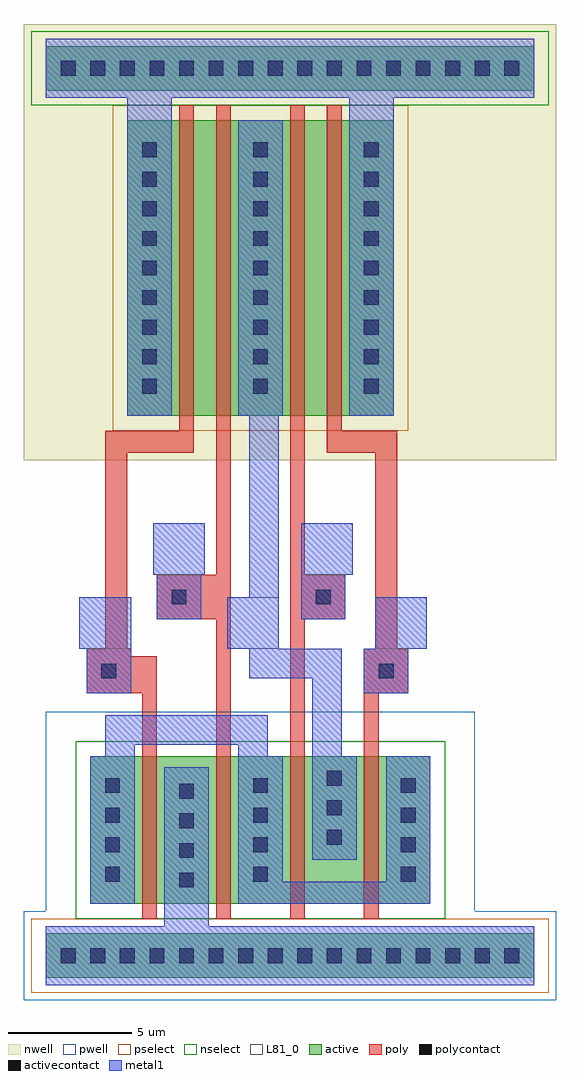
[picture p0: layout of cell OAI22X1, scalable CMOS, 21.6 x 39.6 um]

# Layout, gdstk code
import gdstk
lib = gdstk.Library(unit=1e-6, precision=1e-09)
def R(c, l, rs):  # rectangles x0, y0, x1, y1
    for r in rs: c.add(gdstk.rectangle(r[:2], r[2:], *l))
def A(c, l, x, y, w, h, nx, ny, dx, dy):  # array of equal rectangles
    R(c, l, [(x+i*dx, y+j*dy, x+i*dx+w, y+j*dy+h) for i in range(nx) for j in range(ny)])
pwell = (41, 0)
nwell = (42, 0)
active = (43, 0)
pselect = (44, 0)
nselect = (45, 0)
poly = (46, 0)
polycontact = (47, 0)
activecontact = (48, 0)
metal1 = (49, 0)
L81_0 = (81, 0)

oai22x1 = lib.new_cell('OAI22X1')
R(oai22x1, pwell, [(-1.8,-1.8,19.8,1.8), (-0.9,1.8,16.5,9.9)])
R(oai22x1, nwell, [(-1.8,20.1,19.8,37.8)])
R(oai22x1, active, [(-0.9,-0.9,18.9,0.9), (0.9,2.1,14.7,8.1), (2.4,21.9,13.2,33.9), (-0.9,35.1,18.9,36.9)])
R(oai22x1, pselect, [(-1.5,-1.5,19.5,1.5), (1.8,21.3,13.8,34.5)])
R(oai22x1, nselect, [(0.3,1.5,15.3,8.7), (-1.5,34.5,19.5,37.5)])
R(oai22x1, poly, [(3,1.5,3.6,10.65), (6,1.5,6.6,13.65), (9,1.5,9.6,13.65), (12,1.5,12.6,10.65), (0.75,10.65,3.6,12.15), (12,10.65,13.8,12.45), (0.75,12.15,2.55,12.45), (1.5,12.45,2.4,20.4), (12.45,12.45,13.35,20.4), (3.6,13.65,6.6,15.45), (9,13.65,11.25,15.45), (6,15.45,6.6,34.5), (9,15.45,9.6,34.5), (1.5,20.4,5.1,21.3), (10.5,20.4,13.35,21.3), (4.5,21.3,5.1,34.5), (10.5,21.3,11.1,34.5)])
R(oai22x1, polycontact, [(1.35,11.25,1.95,11.85), (12.6,11.25,13.2,11.85), (4.2,14.25,4.8,14.85), (10.05,14.25,10.65,14.85)])
A(oai22x1, activecontact, -0.3, -0.3, 0.6, 0.6, 16, 2, 1.2, 36)
A(oai22x1, activecontact, 4.5, 2.77, 0.6, 0.6, 1, 4, 0, 1.2)
A(oai22x1, activecontact, 1.5, 3, 0.6, 0.6, 3, 4, 6, 1.2)
A(oai22x1, activecontact, 10.5, 4.5, 0.6, 0.6, 1, 3, 0, 1.2)
A(oai22x1, activecontact, 3, 22.8, 0.6, 0.6, 3, 9, 4.5, 1.2)
A(oai22x1, metal1, 0.45, 12.45, 2.1, 2.1, 3, 1, 6, 0)
R(oai22x1, metal1, [(-0.9,-1.2,18.9,1.2), (3.9,1.2,5.7,7.65), (0.9,2.1,2.7,8.1), (6.9,2.1,14.7,3), (6.9,3,8.7,8.1), (12.9,3,14.7,8.1), (9.9,3.9,11.7,8.1), (1.5,8.1,2.7,8.55), (6.9,8.1,8.1,8.55), (9.9,8.1,11.1,11.25), (1.5,8.55,8.1,9.75), (0.75,10.65,2.55,12.45), (12,10.65,13.8,12.45), (7.35,11.25,11.1,12.45), (3.6,13.65,5.4,15.45), (9.45,13.65,11.25,15.45), (7.35,14.55,8.55,21.9), (3.45,15.45,5.55,17.55), (9.45,15.45,11.55,17.55), (2.4,21.9,4.2,34.8), (6.9,21.9,8.7,33.9), (11.4,21.9,13.2,34.8), (-0.9,34.8,18.9,37.2)])
A(oai22x1, L81_0, 0.45, 12.45, 2.1, 2.1, 3, 1, 6, 0)
R(oai22x1, L81_0, [(3.45,15.45,5.55,17.55), (9.45,15.45,11.55,17.55)])

lib.write_gds('OAI22X1.gds')
